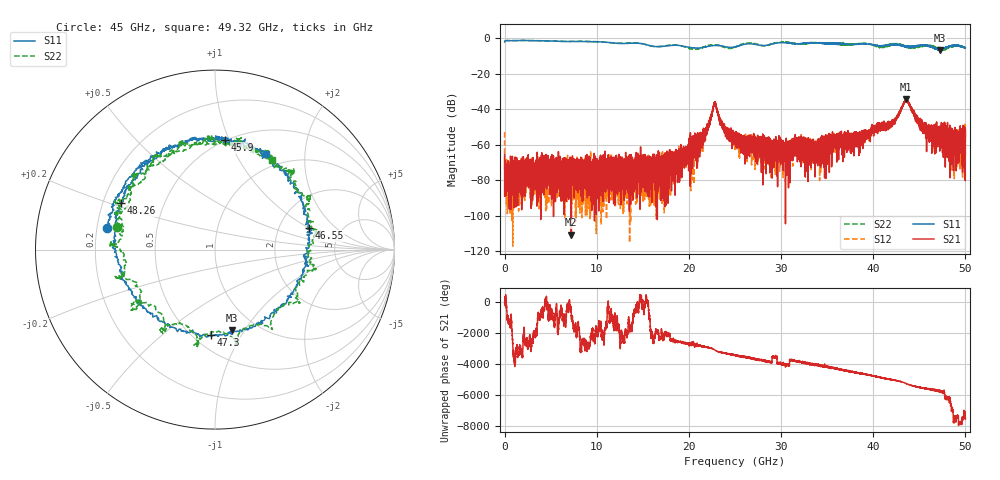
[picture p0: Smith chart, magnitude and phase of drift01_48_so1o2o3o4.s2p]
!Created with skrf (http://scikit-rf.org).
# Hz S RI R 50.0
!freq ReS11 ImS11 ReS21 ImS21 ReS12 ImS12 ReS22 ImS22
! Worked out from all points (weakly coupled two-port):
!   10001 points, 300 kHz to 50 GHz, reference 50 ohm
!   highest |S21| = -34.49 dB at 43.56 GHz (marker M1); lowest = -110.7 dB at 7.2 GHz (marker M2)
!   lowest |S11| = -6.7 dB at 47.2 GHz (marker M3), VSWR 2.70, Z = 38.4 - j43.9 ohm
!   |S11| at or under -10 dB: nowhere
!   |S22| runs from -6.9 to -1.4 dB; largest |S21 - S12| = 0.0043
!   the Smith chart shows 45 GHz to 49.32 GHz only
!   S11 on the Smith chart (normalised r, x): 45 GHz: 0.24, +0.09; 45.9 GHz: 0.49, +0.97; 46.55 GHz: 2.96, +1.01; 47.3 GHz: 0.61, -0.75; 48.26 GHz: 0.28, +0.22; 49.32 GHz: 0.80, +1.34
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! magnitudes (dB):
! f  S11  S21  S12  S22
! 300 kHz  -2.1  -65.5  -52.9  -2.1
! 285.3 MHz  -1.4  -74.2  -91.3  -1.4
! 7.2 GHz  -2.0  -110.7  -75.5  -1.9
! 8.335 GHz  -2.0  -77.0  -75.6  -1.8
! 16.67 GHz  -4.9  -67.5  -69.9  -4.8
! 20.92 GHz  -5.6  -60.7  -57.3  -6.2
! 22.79 GHz  -4.3  -36.3  -36.5  -4.0
! 23.77 GHz  -4.7  -52.0  -49.9  -4.9
! 25 GHz  -5.0  -53.5  -63.7  -5.1
! 30.01 GHz  -2.6  -59.0  -63.1  -2.3
! 31.62 GHz  -3.3  -64.3  -63.0  -3.2
! 33.34 GHz  -2.6  -59.2  -60.7  -2.7
! 41.67 GHz  -3.9  -50.0  -49.0  -4.4
! 43.56 GHz  -4.9  -34.5  -35.1  -4.8
! 45 GHz  -4.3  -47.4  -46.9  -5.0
! 45.9 GHz  -4.2  -50.0  -51.0  -4.1
! 46.55 GHz  -5.4  -54.7  -53.7  -4.8
! 47.2 GHz  -6.7  -51.7  -57.0  -6.1
! 47.3 GHz  -6.4  -49.7  -56.2  -6.1
! 48.26 GHz  -4.7  -58.2  -54.0  -4.7
! 49.32 GHz  -4.4  -59.9  -53.4  -4.5
! 50 GHz  -5.5  -55.2  -66.0  -5.4
